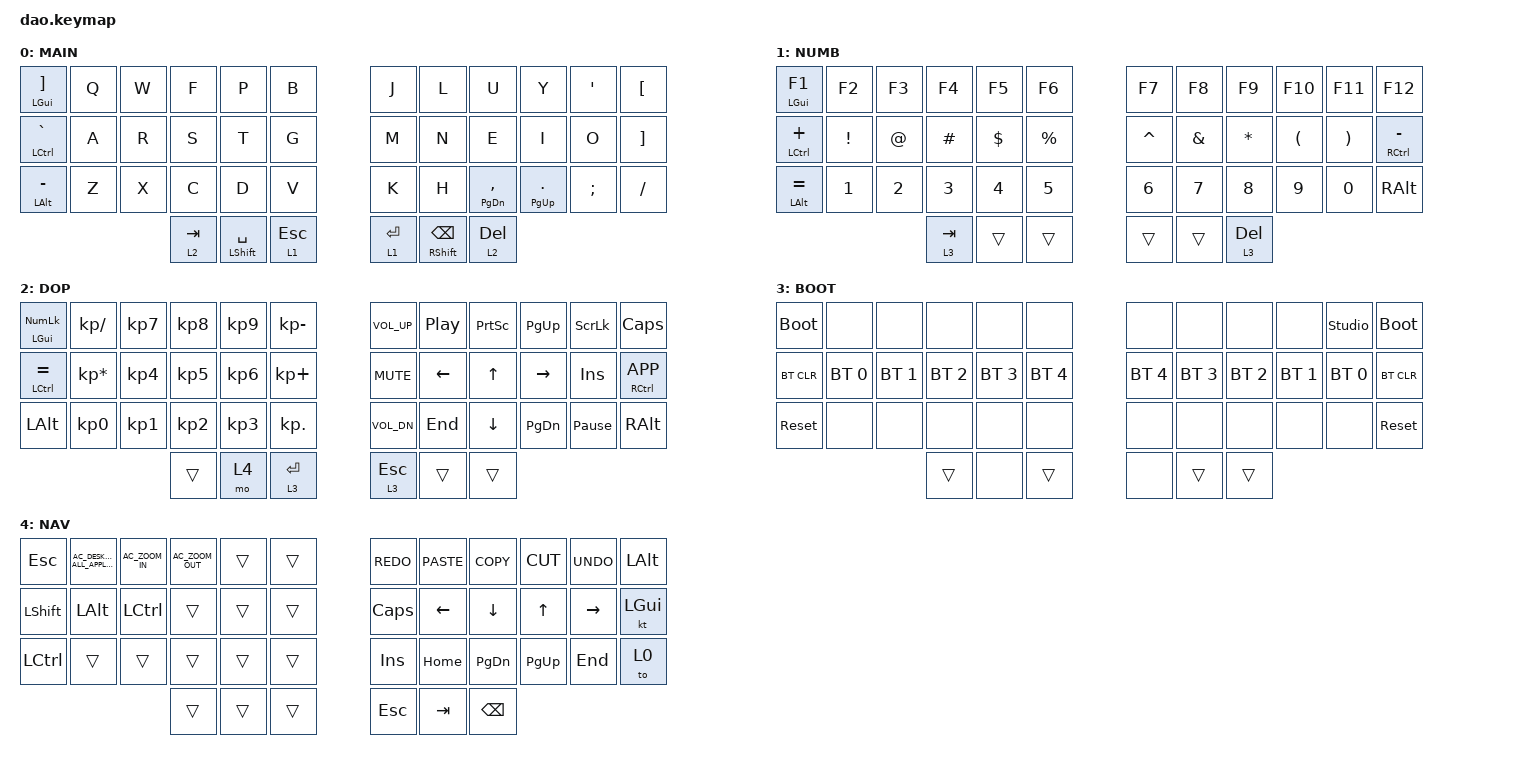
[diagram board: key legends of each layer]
/*
 * Copyright (c) 2021 Rafael Yumagulov
 *
 * SPDX-License-Identifier: MIT
 */

#include <behaviors.dtsi>
#include <dt-bindings/zmk/bt.h>
#include <dt-bindings/zmk/keys.h>

#define DEF 0
#define LWR 1
#define RSE 2
#define ADJ 3
#define SPECL 4

&lt { quick_tap_ms = <200>; };

&mt { quick_tap_ms = <200>; };

/ {
    chosen {
        zmk,matrix_transform = &default_transform;

        //zmk,matrix_transform = &five_column_transform;
    };
};

/ {
    keymap {
        compatible = "zmk,keymap";

        default_layer {
            label = "MAIN";
            bindings = <
&mt LGUI RBKT    &kp Q  &kp W  &kp F      &kp P            &kp B         &kp J        &kp L           &kp U                &kp Y               &kp SINGLE_QUOTE  &kp LBKT
&mt LCTRL GRAVE  &kp A  &kp R  &kp S      &kp T            &kp G         &kp M        &kp N           &kp E                &kp I               &kp O             &kp RBKT
&mt LALT MINUS   &kp Z  &kp X  &kp C      &kp D            &kp V         &kp K        &kp H           &mt PAGE_DOWN COMMA  &mt PAGE_UP PERIOD  &kp SEMICOLON     &kp SLASH
                               &lt 2 TAB  &mt LSHFT SPACE  &lt 1 ESCAPE  &lt 1 ENTER  &mt RSHFT BSPC  &lt 2 DEL
            >;
        };

        lower_layer {
            label = "NUMB";
            bindings = <
&mt LGUI F1     &kp F2    &kp F3  &kp F4     &kp F5    &kp F6     &kp F7     &kp F8    &kp F9     &kp F10   &kp F11   &kp F12
&mt LCTRL PLUS  &kp EXCL  &kp AT  &kp HASH   &kp DLLR  &kp PRCNT  &kp CARET  &kp AMPS  &kp STAR   &kp LPAR  &kp RPAR  &mt RCTRL MINUS
&mt LALT EQUAL  &kp N1    &kp N2  &kp N3     &kp N4    &kp N5     &kp N6     &kp N7    &kp N8     &kp N9    &kp N0    &kp RALT
                                  &lt 3 TAB  &trans    &trans     &trans     &trans    &lt 3 DEL
            >;
        };

        raise_layer {
            label = "DOP";
            bindings = <
&mt LGUI KP_NUM  &kp KP_SLASH     &kp KP_N7  &kp KP_N8  &kp KP_N9  &kp KP_MINUS  &kp C_VOL_UP  &kp C_PP  &kp PSCRN  &kp PG_UP  &kp SLCK         &kp CLCK
&mt LCTRL EQUAL  &kp KP_MULTIPLY  &kp KP_N4  &kp KP_N5  &kp KP_N6  &kp KP_PLUS   &kp C_MUTE    &kp LEFT  &kp UP     &kp RIGHT  &kp INS          &mt RCTRL K_APP
&kp LALT         &kp KP_N0        &kp KP_N1  &kp KP_N2  &kp KP_N3  &kp KP_DOT    &kp C_VOL_DN  &kp END   &kp DOWN   &kp PG_DN  &kp PAUSE_BREAK  &kp RALT
                                             &trans     &mo 4      &lt 3 RET     &lt 3 ESC     &trans    &trans
            >;
        };

        adjust_layer {
            label = "BOOT";
            bindings = <
&bootloader  &none         &none         &none         &none         &none         &none         &none         &none         &none         &studio_unlock   &bootloader
&bt BT_CLR   &bt BT_SEL 0  &bt BT_SEL 1  &bt BT_SEL 2  &bt BT_SEL 3  &bt BT_SEL 4  &bt BT_SEL 4  &bt BT_SEL 3  &bt BT_SEL 2  &bt BT_SEL 1  &bt BT_SEL 0     &bt BT_CLR
&sys_reset   &none         &none         &none         &none         &none         &none         &none         &none         &none         &none            &sys_reset
                                         &trans        &none         &trans        &none         &trans        &trans
            >;
        };

        Nav_Layer {
            label = "NAV";
            bindings = <
&kp ESC     &kp C_AC_DESKTOP_SHOW_ALL_APPLICATIONS  &kp C_AC_ZOOM_IN  &kp C_AC_ZOOM_OUT  &trans  &trans  &kp K_REDO    &kp K_PASTE  &kp K_COPY     &kp K_CUT     &kp K_UNDO  &kp LALT
&kp LSHIFT  &kp LEFT_ALT                            &kp LEFT_CONTROL  &trans             &trans  &trans  &kp CAPSLOCK  &kp LEFT     &kp DOWN       &kp UP_ARROW  &kp RIGHT   &kt LGUI
&kp LCTRL   &trans                                  &trans            &trans             &trans  &trans  &kp INSERT    &kp HOME     &kp PAGE_DOWN  &kp PAGE_UP   &kp END     &to 0
                                                                      &trans             &trans  &trans  &kp ESC       &kp TAB      &kp BSPC
            >;
        };
    };
};
